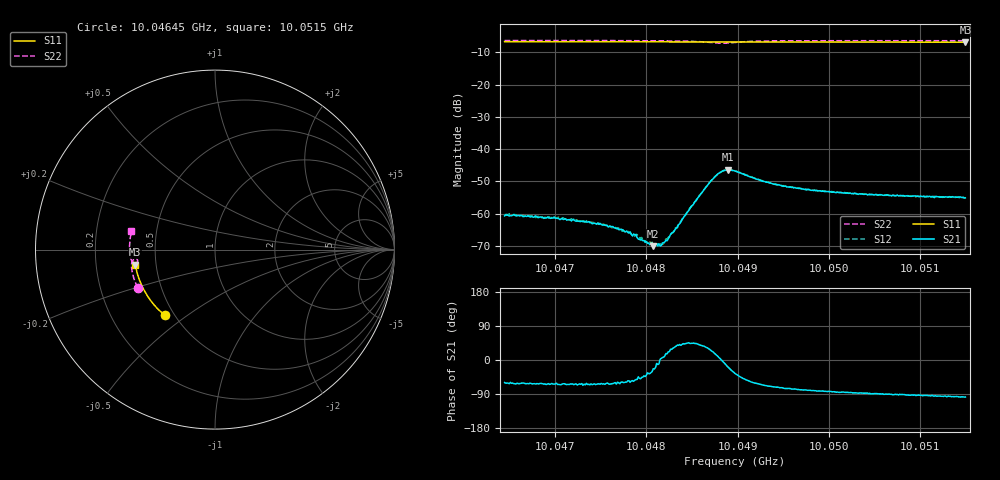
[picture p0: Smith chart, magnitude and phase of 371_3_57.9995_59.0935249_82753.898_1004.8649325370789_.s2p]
#  HZ  S  RI  R  50.00
! Rohde & Schwarz Vector Network Analyzer
! Rohde-Schwarz,ZNB20-2Port,1311601062101988,3.16
! Created: UTC 3/21/2024, 1:06:56 AM
! freq[Hz]  re:S11  im:S11  re:S21  im:S21  re:S12  im:S12  re:S22  im:S22
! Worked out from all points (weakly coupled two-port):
!   401 points, 10.04645 GHz to 10.0515 GHz, reference 50 ohm
!   highest |S21| = -46.38 dB at 10.0489 GHz (marker M1); lowest = -70.0 dB at 10.04808 GHz (marker M2)
!   lowest |S11| = -6.9 dB at 10.0515 GHz (marker M3), VSWR 2.65, Z = 19 - j4.04 ohm
!   |S11| at or under -10 dB: nowhere
!   |S22| runs from -7.2 to -6.4 dB; largest |S21 - S12| = 0.00034
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1.0046449e10  -0.2812 -0.3651  0.00047 -0.0008  0.000532 -0.000815  -0.4316 -0.212
1.0047067e10  -0.3115 -0.3379  0.000349 -0.000757  0.000419 -0.000765  -0.4473 -0.1734
1.0047294e10  -0.322 -0.3271  0.00036 -0.000683  0.000373 -0.000654  -0.4523 -0.1587
1.0047496e10  -0.3311 -0.3173  0.000314 -0.000635  0.000339 -0.00064  -0.4561 -0.1452
1.0047673e10  -0.3389 -0.3086  0.000265 -0.000529  0.000308 -0.000502  -0.4592 -0.1334
1.0047799e10  -0.3441 -0.3022  0.000298 -0.000419  0.000343 -0.000412  -0.4612 -0.1242
1.0047938e10  -0.35 -0.295  0.000256 -0.0003  0.000296 -0.000282  -0.4631 -0.1143
1.0047988e10  -0.3519 -0.2924  0.000261 -0.00025  0.000311 -0.000215  -0.4636 -0.1104
1.0048077e10  -0.3554 -0.2878  0.00029 -0.000125  0.000324 -0.000113  -0.4645 -0.1037
1.004814e10  -0.3581 -0.2845  0.00034 -5.88e-05  0.000331 -2.36e-05  -0.465 -0.0989
1.004819e10  -0.3601 -0.282  0.000355 4.6e-05  0.000337 8.58e-05  -0.4653 -0.0947
1.0048228e10  -0.3615 -0.2798  0.000367 0.000107  0.000369 0.000173  -0.4651 -0.0915
1.0048316e10  -0.3648 -0.2751  0.000474 0.000325  0.000461 0.000378  -0.4651 -0.0841
1.0048506e10  -0.3719 -0.2648  0.000966 0.000938  0.000933 0.000984  -0.4613 -0.0666
1.004872e10  -0.3793 -0.2528  0.00308 0.00131  0.003 0.00153  -0.4423 -0.052
1.0048808e10  -0.3822 -0.248  0.00433 0.000299  0.00433 0.000562  -0.4319 -0.0581
1.0048897e10  -0.3852 -0.2433  0.00454 -0.00155  0.00466 -0.00126  -0.4332 -0.0702
1.0048972e10  -0.3877 -0.2391  0.00373 -0.00267  0.00396 -0.00242  -0.4426 -0.0751
1.0049401e10  -0.4015 -0.2144  0.000936 -0.0027  0.00107 -0.00269  -0.4715 -0.0439
1.0049818e10  -0.413 -0.1896  0.000383 -0.00229  0.000503 -0.00228  -0.476 -0.0116
1.0050663e10  -0.4319 -0.1374  1.73e-06 -0.00191  8.1e-05 -0.00196  -0.4744 0.0475
1.0051496e10  -0.4439 -0.0844  -0.000234 -0.00175  -0.000133 -0.00178  -0.4653 0.1024
